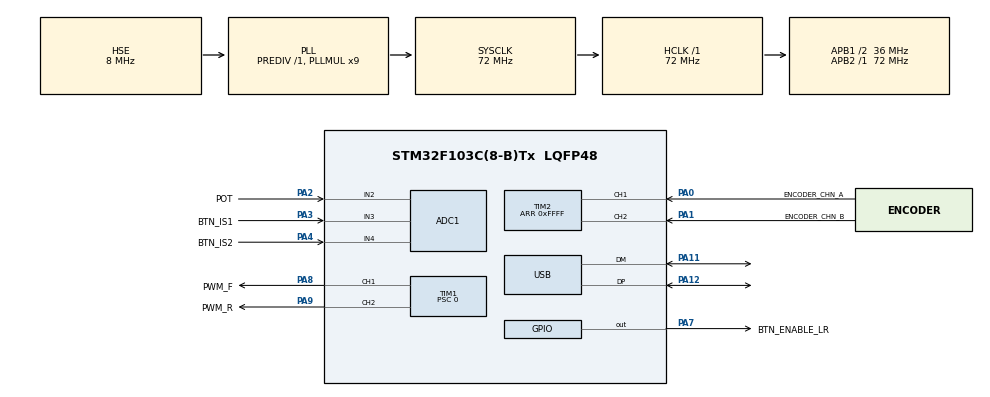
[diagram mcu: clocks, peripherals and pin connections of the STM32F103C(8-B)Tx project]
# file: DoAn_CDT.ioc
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ADC1.AWD1HighThreshold=2000
ADC1.AWD1ITMode=ENABLE
ADC1.Channel-0\#ChannelRegularConversion=ADC_CHANNEL_3
ADC1.Channel-1\#ChannelRegularConversion=ADC_CHANNEL_4
ADC1.Channel-2\#ChannelRegularConversion=ADC_CHANNEL_2
ADC1.ContinuousConvMode=ENABLE
ADC1.EnableAnalogWatchDog=true
ADC1.NbrOfConversion=3
ADC1.NbrOfConversionFlag=1
ADC1.Rank-0\#ChannelRegularConversion=1
ADC1.Rank-1\#ChannelRegularConversion=2
ADC1.Rank-2\#ChannelRegularConversion=3
ADC1.SamplingTime-0\#ChannelRegularConversion=ADC_SAMPLETIME_1CYCLE_5
ADC1.SamplingTime-1\#ChannelRegularConversion=ADC_SAMPLETIME_1CYCLE_5
ADC1.SamplingTime-2\#ChannelRegularConversion=ADC_SAMPLETIME_1CYCLE_5
ADC1.WatchdogMode=ADC_ANALOGWATCHDOG_ALL_REG
ADC1.master=1
Dma.ADC1.0.Direction=DMA_PERIPH_TO_MEMORY
Dma.ADC1.0.Instance=DMA1_Channel1
Dma.ADC1.0.MemDataAlignment=DMA_MDATAALIGN_HALFWORD
Dma.ADC1.0.MemInc=DMA_MINC_ENABLE
Dma.ADC1.0.Mode=DMA_CIRCULAR
Dma.ADC1.0.PeriphDataAlignment=DMA_PDATAALIGN_HALFWORD
Dma.ADC1.0.PeriphInc=DMA_PINC_DISABLE
Dma.ADC1.0.Priority=DMA_PRIORITY_HIGH
Dma.Request0=ADC1
Mcu.Family=STM32F1
Mcu.Name=STM32F103C(8-B)Tx
Mcu.Package=LQFP48
NVIC.ADC1_2_IRQn=true\:0\:0\:false\:false\:true\:true\:true
NVIC.DMA1_Channel1_IRQn=true\:0\:0\:false\:false\:true\:false\:true
NVIC.PriorityGroup=NVIC_PRIORITYGROUP_4
NVIC.USB_LP_CAN1_RX0_IRQn=true\:0\:0\:false\:false\:true\:false\:true
PA0-WKUP.GPIO_Label=ENCODER_CHN_A
PA0-WKUP.GPIO_PuPd=GPIO_PULLUP
PA0-WKUP.Signal=S_TIM2_CH1_ETR
PA1.GPIO_Label=ENCODER_CHN_B
PA1.GPIO_PuPd=GPIO_PULLUP
PA1.Signal=S_TIM2_CH2
PA11.Mode=Device
PA11.Signal=USB_DM
PA12.Mode=Device
PA12.Signal=USB_DP
PA13.Mode=Serial_Wire
PA13.Signal=SYS_JTMS-SWDIO
PA14.Mode=Serial_Wire
PA14.Signal=SYS_JTCK-SWCLK
PA2.GPIO_Label=POT
PA2.Signal=ADCx_IN2
PA3.GPIO_Label=BTN_IS1
PA3.Signal=ADCx_IN3
PA4.GPIO_Label=BTN_IS2
PA4.Signal=ADCx_IN4
PA7.GPIO_Label=BTN_ENABLE_LR
PA7.Signal=GPIO_Output
PA8.GPIO_Label=PWM_F
PA8.GPIO_ModeDefaultPP=GPIO_MODE_AF_PP
PA8.GPIO_Speed=GPIO_SPEED_FREQ_HIGH
PA8.Signal=S_TIM1_CH1
PA9.GPIO_Label=PWM_R
PA9.GPIO_ModeDefaultPP=GPIO_MODE_AF_PP
PA9.GPIO_Speed=GPIO_SPEED_FREQ_HIGH
PA9.Signal=S_TIM1_CH2
PD0-OSC_IN.Mode=HSE-External-Oscillator
PD0-OSC_IN.Signal=RCC_OSC_IN
PD1-OSC_OUT.Mode=HSE-External-Oscillator
PD1-OSC_OUT.Signal=RCC_OSC_OUT
ProjectManager.HeapSize=0x200
ProjectManager.StackSize=0x400
ProjectManager.TargetToolchain=STM32CubeIDE
RCC.ADCPresc=RCC_ADCPCLK2_DIV6
RCC.AHBFreq_Value=72000000
RCC.APB1CLKDivider=RCC_HCLK_DIV2
RCC.APB1Freq_Value=36000000
RCC.APB1TimFreq_Value=72000000
RCC.APB2Freq_Value=72000000
RCC.APB2TimFreq_Value=72000000
RCC.HCLKFreq_Value=72000000
RCC.PLLMUL=RCC_PLL_MUL9
RCC.PLLSourceVirtual=RCC_PLLSOURCE_HSE
RCC.SYSCLKFreq_VALUE=72000000
RCC.SYSCLKSource=RCC_SYSCLKSOURCE_PLLCLK
RCC.USBFreq_Value=48000000
RCC.USBPrescaler=RCC_USBCLKSOURCE_PLL_DIV1_5
SH.ADCx_IN2.0=ADC1_IN2,IN2
SH.ADCx_IN3.0=ADC1_IN3,IN3
SH.ADCx_IN4.0=ADC1_IN4,IN4
SH.S_TIM1_CH1.0=TIM1_CH1,PWM Generation1 CH1
SH.S_TIM1_CH2.0=TIM1_CH2,PWM Generation2 CH2
SH.S_TIM2_CH1_ETR.0=TIM2_CH1,Encoder_Interface
SH.S_TIM2_CH2.0=TIM2_CH2,Encoder_Interface
TIM1.AutoReloadPreload=TIM_AUTORELOAD_PRELOAD_DISABLE
TIM1.AutomaticOutput=TIM_AUTOMATICOUTPUT_ENABLE
TIM1.Channel-PWM\ Generation1\ CH1=TIM_CHANNEL_1
TIM1.Channel-PWM\ Generation2\ CH2=TIM_CHANNEL_2
TIM1.ClockDivision=TIM_CLOCKDIVISION_DIV1
TIM1.CounterMode=TIM_COUNTERMODE_UP
TIM1.OCMode_PWM-PWM\ Generation1\ CH1=TIM_OCMODE_PWM1
TIM1.OCMode_PWM-PWM\ Generation2\ CH2=TIM_OCMODE_PWM1
TIM1.Period=3599
TIM1.Prescaler=0
TIM1.Pulse-PWM\ Generation1\ CH1=1750
TIM1.Pulse-PWM\ Generation2\ CH2=1750
TIM1.RepetitionCounter=1
TIM2.EncoderMode=TIM_ENCODERMODE_TI12
TIM2.IC1Polarity=TIM_ICPOLARITY_RISING
TIM2.IC2Polarity=TIM_ICPOLARITY_RISING
TIM2.Period=0xFFFF
USB_DEVICE.CLASS_NAME_FS=CDC
USB_DEVICE.VirtualMode=Cdc
USB_DEVICE.VirtualModeFS=Cdc_FS
VP_TIM1_VS_ClockSourceINT.Mode=Internal
VP_USB_DEVICE_VS_USB_DEVICE_CDC_FS.Mode=CDC_FS
board=custom

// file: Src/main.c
/* USER CODE BEGIN Header */
/**
  ******************************************************************************
  * @file           : main.c
  * @brief          : Main program body
  ******************************************************************************
  * @attention
  *
  * <h2><center>&copy; Copyright (c) 2020 STMicroelectronics.
  * All rights reserved.</center></h2>
  *
  * This software component is licensed by ST under Ultimate Liberty license
  * SLA0044, the "License"; You may not use this file except in compliance with
  * the License. You may obtain a copy of the License at:
  *                             www.st.com/SLA0044
  *
  ******************************************************************************
  */
/* USER CODE END Header */
#include "main.h"
#include "usb_device.h"

/* USER CODE BEGIN Includes */
#include "math.h"
#include "usbd_cdc_if.h"
/* USER CODE END Includes */

/* USER CODE BEGIN PD */
#define MANUAL 0
#define AUTOMATIC 1

#define DIRECT 0
#define REVERSE 1

/* USER CODE END PD */

ADC_HandleTypeDef hadc1;
DMA_HandleTypeDef hdma_adc1;

TIM_HandleTypeDef htim1;
TIM_HandleTypeDef htim2;

/* USER CODE BEGIN PV */
uint32_t tick = 0;
int32_t pulsecnt = 0;
int32_t prepulsecnt = 0;
int32_t angleFeedback = 0;
extern char ReceivedData[100];
extern uint8_t Rxcount;
extern uint32_t dataSize;
extern uint8_t check;
extern uint32_t time;
/* PID gain*/
double spdKp = 0;
double spdKi = 0;
double spdKd = 0;

double posKp = 16;
double posKi = 34;
double posKd = 0.1;

double input = 0;
double output = 0;
double setpoint = 0;

float pidSpeedOutput = 0;
float pidPositionOutput = 0;

float sampleTimeSeconds = 0.01;
/* Output limitation */
float minOutput = -3000;
float maxOutput = 3000;

/* min-max duty cycle value*/
uint16_t minPWM = 0;
uint16_t maxPWM = 3599;

volatile long encoderPos = 0;
uint8_t homeSignalState = 0;

char*str = "Hello World";
uint16_t ADC_BUFF[3];

char buffer[33];
int value[] = { 11184810, -25, 64, 127 };

/* USER CODE END PV */

void SystemClock_Config(void);
static void MX_GPIO_Init(void);
static void MX_TIM1_Init(void);
static void MX_TIM2_Init(void);
static void MX_DMA_Init(void);
static void MX_ADC1_Init(void);
/* USER CODE BEGIN PFP */
void pwmSendOut(int32_t setpoint_in);
uint8_t setHomePos(int32_t dutyAdjSpd);
void pwmOff(void);

void swap(char *x, char *y) ;
char* reverse(char *buffer, int i, int j);
char* itoa(int value, char* buffer, int base);

/* USER CODE END PFP */

/* USER CODE BEGIN 0 */
PIDControl mySpeedPID;
PIDControl myPosPID;
/* USER CODE END 0 */

int main(void)
{

  /* MCU Configuration--------------------------------------------------------*/

  /* Reset of all peripherals, Initializes the Flash interface and the Systick. */
  HAL_Init();

  /* Configure the system clock */
  SystemClock_Config();

  /* Initialize all configured peripherals */
  MX_GPIO_Init();
  MX_TIM1_Init();
  MX_TIM2_Init();
  MX_DMA_Init();
  MX_ADC1_Init();
  MX_USB_DEVICE_Init();
  /* USER CODE BEGIN 2 */

  /* PID Initialize */
  //PIDInit(&mySpeedPID,1,0,0,0.01,-500,500,AUTOMATIC,DIRECT);
  PIDInit(&myPosPID,posKp,posKi,posKd,sampleTimeSeconds,minOutput,maxOutput,AUTOMATIC,REVERSE);

  //HAL_TIM_Encoder_Start_IT(&htim2, TIM_CHANNEL_1|TIM_CHANNEL_2);
  HAL_TIM_Encoder_Start(&htim2, TIM_CHANNEL_1|TIM_CHANNEL_2);
  HAL_TIM_PWM_Start(&htim1,TIM_CHANNEL_1);
  HAL_TIM_PWM_Start(&htim1,TIM_CHANNEL_2);
  tick = HAL_GetTick();
  HAL_GPIO_WritePin(BTN_ENABLE_LR_GPIO_Port, BTN_ENABLE_LR_Pin, GPIO_PIN_SET);
  //HAL_ADC_Start_DMA(&hadc1,(uint32_t*)ADC_BUFF, 3);
  /* USER CODE END 2 */

  /* Infinite loop */
  while (1)
  {
	  pwmSendOut(500);
	  pulsecnt = __HAL_TIM_GET_COUNTER(&htim2);
    /* USER CODE BEGIN 3 */
	//pulsecnt = __HAL_TIM_GET_COUNTER(&htim2);
	  /*if ((HAL_GetTick()-tick)>10)
	  		{
	  			//PIDControllerDirectionSet(&myPosPID, REVERSE);
	  			pulsecnt = __HAL_TIM_GET_COUNTER(&htim2);
	  			angleFeedback = (pulsecnt*360)/8000;
	  		    PIDSetpointSet(&myPosPID,180);
	  		    PIDInputSet(&myPosPID, angleFeedback);
	  		    PIDCompute(&myPosPID);
	  		    pidPositionOutput = PIDOutputGet(&myPosPID);
	  			pwmSendOut(pidPositionOutput);
	  			tick = HAL_GetTick();
	  		}
     */
   /* CDC_Transmit_FS(((char *)itoa(180, buffer, 10)), strlen(buffer));
	HAL_Delay(1);
    CDC_Transmit_FS((char *)",", strlen(","));
	HAL_Delay(1);
	CDC_Transmit_FS(((char *)itoa(angleFeedback, buffer, 10)), strlen(buffer));
	HAL_Delay(1);
	CDC_Transmit_FS((char *)"\r\n", strlen("\r\n"));
	HAL_Delay(1);
    */
//	CDC_Transmit_FS(((char *)itoa(pulsecnt, buffer, 10)), strlen(buffer));
//	HAL_Delay(10);
//	CDC_Transmit_FS((char *)"\r\n", strlen("\r\n"));
//	HAL_Delay(10);

  }
  /* USER CODE END 3 */
}

void SystemClock_Config(void)
{
  RCC_OscInitTypeDef RCC_OscInitStruct = {0};
  RCC_ClkInitTypeDef RCC_ClkInitStruct = {0};
  RCC_PeriphCLKInitTypeDef PeriphClkInit = {0};

  /** Initializes the RCC Oscillators according to the specified parameters
  * in the RCC_OscInitTypeDef structure.
  */
  RCC_OscInitStruct.OscillatorType = RCC_OSCILLATORTYPE_HSE;
  RCC_OscInitStruct.HSEState = RCC_HSE_ON;
  RCC_OscInitStruct.HSEPredivValue = RCC_HSE_PREDIV_DIV1;
  RCC_OscInitStruct.HSIState = RCC_HSI_ON;
  RCC_OscInitStruct.PLL.PLLState = RCC_PLL_ON;
  RCC_OscInitStruct.PLL.PLLSource = RCC_PLLSOURCE_HSE;
  RCC_OscInitStruct.PLL.PLLMUL = RCC_PLL_MUL9;
  if (HAL_RCC_OscConfig(&RCC_OscInitStruct) != HAL_OK)
  {
    Error_Handler();
  }
  /** Initializes the CPU, AHB and APB buses clocks
  */
  RCC_ClkInitStruct.ClockType = RCC_CLOCKTYPE_HCLK|RCC_CLOCKTYPE_SYSCLK
                              |RCC_CLOCKTYPE_PCLK1|RCC_CLOCKTYPE_PCLK2;
  RCC_ClkInitStruct.SYSCLKSource = RCC_SYSCLKSOURCE_PLLCLK;
  RCC_ClkInitStruct.AHBCLKDivider = RCC_SYSCLK_DIV1;
  RCC_ClkInitStruct.APB1CLKDivider = RCC_HCLK_DIV2;
  RCC_ClkInitStruct.APB2CLKDivider = RCC_HCLK_DIV1;

  if (HAL_RCC_ClockConfig(&RCC_ClkInitStruct, FLASH_LATENCY_2) != HAL_OK)
  {
    Error_Handler();
  }
  PeriphClkInit.PeriphClockSelection = RCC_PERIPHCLK_ADC|RCC_PERIPHCLK_USB;
  PeriphClkInit.AdcClockSelection = RCC_ADCPCLK2_DIV6;
  PeriphClkInit.UsbClockSelection = RCC_USBCLKSOURCE_PLL_DIV1_5;
  if (HAL_RCCEx_PeriphCLKConfig(&PeriphClkInit) != HAL_OK)
  {
    Error_Handler();
  }
}

static void MX_ADC1_Init(void)
{

  ADC_AnalogWDGConfTypeDef AnalogWDGConfig = {0};
  ADC_ChannelConfTypeDef sConfig = {0};

  /** Common config
  */
  hadc1.Instance = ADC1;
  hadc1.Init.ScanConvMode = ADC_SCAN_ENABLE;
  hadc1.Init.ContinuousConvMode = ENABLE;
  hadc1.Init.DiscontinuousConvMode = DISABLE;
  hadc1.Init.ExternalTrigConv = ADC_SOFTWARE_START;
  hadc1.Init.DataAlign = ADC_DATAALIGN_RIGHT;
  hadc1.Init.NbrOfConversion = 3;
  if (HAL_ADC_Init(&hadc1) != HAL_OK)
  {
    Error_Handler();
  }
  /** Configure Analog WatchDog 1
  */
  AnalogWDGConfig.WatchdogMode = ADC_ANALOGWATCHDOG_ALL_REG;
  AnalogWDGConfig.HighThreshold = 2000;
  AnalogWDGConfig.LowThreshold = 0;
  AnalogWDGConfig.ITMode = ENABLE;
  if (HAL_ADC_AnalogWDGConfig(&hadc1, &AnalogWDGConfig) != HAL_OK)
  {
    Error_Handler();
  }
  /** Configure Regular Channel
  */
  sConfig.Channel = ADC_CHANNEL_3;
  sConfig.Rank = ADC_REGULAR_RANK_1;
  sConfig.SamplingTime = ADC_SAMPLETIME_1CYCLE_5;
  if (HAL_ADC_ConfigChannel(&hadc1, &sConfig) != HAL_OK)
  {
    Error_Handler();
  }
  /** Configure Regular Channel
  */
  sConfig.Channel = ADC_CHANNEL_4;
  sConfig.Rank = ADC_REGULAR_RANK_2;
  if (HAL_ADC_ConfigChannel(&hadc1, &sConfig) != HAL_OK)
  {
    Error_Handler();
  }
  /** Configure Regular Channel
  */
  sConfig.Channel = ADC_CHANNEL_2;
  sConfig.Rank = ADC_REGULAR_RANK_3;
  if (HAL_ADC_ConfigChannel(&hadc1, &sConfig) != HAL_OK)
  {
    Error_Handler();
  }

}

static void MX_TIM1_Init(void)
{

  TIM_ClockConfigTypeDef sClockSourceConfig = {0};
  TIM_MasterConfigTypeDef sMasterConfig = {0};
  TIM_OC_InitTypeDef sConfigOC = {0};
  TIM_BreakDeadTimeConfigTypeDef sBreakDeadTimeConfig = {0};

  htim1.Instance = TIM1;
  htim1.Init.Prescaler = 0;
  htim1.Init.CounterMode = TIM_COUNTERMODE_UP;
  htim1.Init.Period = 3599;
  htim1.Init.ClockDivision = TIM_CLOCKDIVISION_DIV1;
  htim1.Init.RepetitionCounter = 1;
  htim1.Init.AutoReloadPreload = TIM_AUTORELOAD_PRELOAD_DISABLE;
  if (HAL_TIM_Base_Init(&htim1) != HAL_OK)
  {
    Error_Handler();
  }
  sClockSourceConfig.ClockSource = TIM_CLOCKSOURCE_INTERNAL;
  if (HAL_TIM_ConfigClockSource(&htim1, &sClockSourceConfig) != HAL_OK)
  {
    Error_Handler();
  }
  if (HAL_TIM_PWM_Init(&htim1) != HAL_OK)
  {
    Error_Handler();
  }
  sMasterConfig.MasterOutputTrigger = TIM_TRGO_RESET;
  sMasterConfig.MasterSlaveMode = TIM_MASTERSLAVEMODE_DISABLE;
  if (HAL_TIMEx_MasterConfigSynchronization(&htim1, &sMasterConfig) != HAL_OK)
  {
    Error_Handler();
  }
  sConfigOC.OCMode = TIM_OCMODE_PWM1;
  sConfigOC.Pulse = 1750;
  sConfigOC.OCPolarity = TIM_OCPOLARITY_HIGH;
  sConfigOC.OCNPolarity = TIM_OCNPOLARITY_HIGH;
  sConfigOC.OCFastMode = TIM_OCFAST_DISABLE;
  sConfigOC.OCIdleState = TIM_OCIDLESTATE_RESET;
  sConfigOC.OCNIdleState = TIM_OCNIDLESTATE_RESET;
  if (HAL_TIM_PWM_ConfigChannel(&htim1, &sConfigOC, TIM_CHANNEL_1) != HAL_OK)
  {
    Error_Handler();
  }
  if (HAL_TIM_PWM_ConfigChannel(&htim1, &sConfigOC, TIM_CHANNEL_2) != HAL_OK)
  {
    Error_Handler();
  }
  sBreakDeadTimeConfig.OffStateRunMode = TIM_OSSR_DISABLE;
  sBreakDeadTimeConfig.OffStateIDLEMode = TIM_OSSI_DISABLE;
  sBreakDeadTimeConfig.LockLevel = TIM_LOCKLEVEL_OFF;
  sBreakDeadTimeConfig.DeadTime = 0;
  sBreakDeadTimeConfig.BreakState = TIM_BREAK_DISABLE;
  sBreakDeadTimeConfig.BreakPolarity = TIM_BREAKPOLARITY_HIGH;
  sBreakDeadTimeConfig.AutomaticOutput = TIM_AUTOMATICOUTPUT_ENABLE;
  if (HAL_TIMEx_ConfigBreakDeadTime(&htim1, &sBreakDeadTimeConfig) != HAL_OK)
  {
    Error_Handler();
  }
  HAL_TIM_MspPostInit(&htim1);

}

static void MX_TIM2_Init(void)
{

  TIM_Encoder_InitTypeDef sConfig = {0};
  TIM_MasterConfigTypeDef sMasterConfig = {0};

  htim2.Instance = TIM2;
  htim2.Init.Prescaler = 0;
  htim2.Init.CounterMode = TIM_COUNTERMODE_UP;
  htim2.Init.Period = 0xFFFF;
  htim2.Init.ClockDivision = TIM_CLOCKDIVISION_DIV1;
  htim2.Init.AutoReloadPreload = TIM_AUTORELOAD_PRELOAD_DISABLE;
  sConfig.EncoderMode = TIM_ENCODERMODE_TI12;
  sConfig.IC1Polarity = TIM_ICPOLARITY_RISING;
  sConfig.IC1Selection = TIM_ICSELECTION_DIRECTTI;
  sConfig.IC1Prescaler = TIM_ICPSC_DIV1;
  sConfig.IC1Filter = 0;
  sConfig.IC2Polarity = TIM_ICPOLARITY_RISING;
  sConfig.IC2Selection = TIM_ICSELECTION_DIRECTTI;
  sConfig.IC2Prescaler = TIM_ICPSC_DIV1;
  sConfig.IC2Filter = 0;
  if (HAL_TIM_Encoder_Init(&htim2, &sConfig) != HAL_OK)
  {
    Error_Handler();
  }
  sMasterConfig.MasterOutputTrigger = TIM_TRGO_RESET;
  sMasterConfig.MasterSlaveMode = TIM_MASTERSLAVEMODE_DISABLE;
  if (HAL_TIMEx_MasterConfigSynchronization(&htim2, &sMasterConfig) != HAL_OK)
  {
    Error_Handler();
  }

}

static void MX_DMA_Init(void)
{

  /* DMA controller clock enable */
  __HAL_RCC_DMA1_CLK_ENABLE();

  /* DMA interrupt init */
  /* DMA1_Channel1_IRQn interrupt configuration */
  HAL_NVIC_SetPriority(DMA1_Channel1_IRQn, 0, 0);
  HAL_NVIC_EnableIRQ(DMA1_Channel1_IRQn);

}

static void MX_GPIO_Init(void)
{
  GPIO_InitTypeDef GPIO_InitStruct = {0};

  /* GPIO Ports Clock Enable */
  __HAL_RCC_GPIOD_CLK_ENABLE();
  __HAL_RCC_GPIOA_CLK_ENABLE();

  /*Configure GPIO pin Output Level */
  HAL_GPIO_WritePin(BTN_ENABLE_LR_GPIO_Port, BTN_ENABLE_LR_Pin, GPIO_PIN_RESET);

  /*Configure GPIO pin : BTN_ENABLE_LR_Pin */
  GPIO_InitStruct.Pin = BTN_ENABLE_LR_Pin;
  GPIO_InitStruct.Mode = GPIO_MODE_OUTPUT_PP;
  GPIO_InitStruct.Pull = GPIO_NOPULL;
  GPIO_InitStruct.Speed = GPIO_SPEED_FREQ_LOW;
  HAL_GPIO_Init(BTN_ENABLE_LR_GPIO_Port, &GPIO_InitStruct);

}

/* USER CODE BEGIN 4 */
void pwmSendOut(int32_t setpoint_in)
{
	if (setpoint_in > 0) {
		/* Motor Rotate Forward Direction */
		__HAL_TIM_SET_COMPARE(&htim1,TIM_CHANNEL_1,setpoint_in);
		__HAL_TIM_SET_COMPARE(&htim1,TIM_CHANNEL_2,0);

	 }
	 else {
		 /* Motor Rotate Reverse Direction */
		 __HAL_TIM_SET_COMPARE(&htim1,TIM_CHANNEL_1, 0);
		 __HAL_TIM_SET_COMPARE(&htim1,TIM_CHANNEL_2, fabs(setpoint_in));
	 }
}

void pwmOff(void)
{
	 __HAL_TIM_SET_COMPARE(&htim1,TIM_CHANNEL_1, 0);
	 __HAL_TIM_SET_COMPARE(&htim1,TIM_CHANNEL_2, 0);
}

uint8_t setHomePos(int32_t dutyAdjSpd)
{
	uint8_t pinStateTemp;
	pwmSendOut(dutyAdjSpd);
	//pinStateTemp = HAL_GPIO_ReadPin(HOME_SIGNAL_GPIO_Port, HOME_SIGNAL_Pin);
	if(pinStateTemp < 0.5)
	{
		pwmOff();
		return 1;
	}
	else
	{
		return 0;
	}
}

// inline function to swap two numbers
inline void swap(char *x, char *y) {
	char t = *x; *x = *y; *y = t;
}

// function to reverse buffer[i..j]
char* reverse(char *buffer, int i, int j)
{
	while (i < j)
		swap(&buffer[i++], &buffer[j--]);

	return buffer;
}

// Iterative function to implement itoa() function in C
char* itoa(int value, char* buffer, int base)
{
	// invalid input
	if (base < 2 || base > 32)
		return buffer;

	// consider absolute value of number
	int n = abs(value);

	int i = 0;
	while (n)
	{
		int r = n % base;

		if (r >= 10)
			buffer[i++] = 65 + (r - 10);
		else
			buffer[i++] = 48 + r;

		n = n / base;
	}

	// if number is 0
	if (i == 0)
		buffer[i++] = '0';

	// If base is 10 and value is negative, the resulting string
	// is preceded with a minus sign (-)
	// With any other base, value is always considered unsigned
	if (value < 0 && base == 10)
		buffer[i++] = '-';

	buffer[i] = '\0'; // null terminate string

	// reverse the string and return it
	return reverse(buffer, 0, i - 1);
}
/* USER CODE END 4 */

void Error_Handler(void)
{
}

/************************ (C) COPYRIGHT STMicroelectronics *****END OF FILE****/
